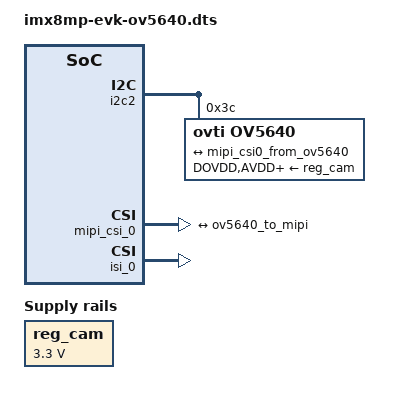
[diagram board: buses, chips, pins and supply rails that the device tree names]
// SPDX-License-Identifier: (GPL-2.0 OR MIT)
/*
 * imx8mp-evk-ov5640.dts — Device tree overlay for OV5640 camera on i.MX8MP EVK
 *
 * This file shows how hardware is described to the Linux kernel.
 * The device tree is NOT code — it's a data structure that tells the kernel:
 *   "At this address, there is this hardware, configured like this."
 *
 * The kernel NEVER probes hardware blindly. It reads the device tree
 * to know what exists, then loads the matching driver.
 *
 * Key concepts:
 *   - Each node = one hardware block (I2C bus, camera, clock, etc.)
 *   - `compatible` string = matches a kernel driver
 *   - `reg` = hardware address (I2C addr, MMIO base, etc.)
 *   - `status = "okay"` = enabled; "disabled" = kernel ignores it
 *   - phandle references (&label) = links between nodes
 *
 * Data flow described by this device tree:
 *
 *   OV5640 sensor (I2C1, addr 0x3c)
 *       │
 *       │  MIPI CSI-2 (2 data lanes, 24MHz MCLK)
 *       ▼
 *   MIPI CSI-2 receiver (mipi_csi0 @ 0x32e40000)
 *       │
 *       │  internal bus
 *       ▼
 *   ISI channel 0 (isi_0 @ 0x32e00000)
 *       │
 *       ▼
 *   /dev/video3 (V4L2 capture node)
 *
 * On the EVK, NXP's base device tree (imx8mp-evk.dts) already includes
 * OV5640 support. This overlay is for educational reference.
 *
 * Compile:
 *   dtc -@ -I dts -O dtb -o imx8mp-evk-ov5640.dtbo imx8mp-evk-ov5640.dts
 *
 * Apply at runtime (if supported):
 *   mkdir -p /sys/kernel/config/device-tree/overlays/cam
 *   cat imx8mp-evk-ov5640.dtbo > /sys/kernel/config/device-tree/overlays/cam/dtbo
 */

/dts-v1/;
/plugin/;

&{/} {
	/*
	 * Clock provider for OV5640's MCLK (master clock).
	 *
	 * OV5640 needs an external clock input (XVCLK pin) to run its
	 * internal PLL. The EVK provides 24 MHz from the SoC's CCM
	 * (Clock Controller Module). We declare a fixed-clock node
	 * so the camera driver can request it via the clocks property.
	 */
	cam_clk: cam-clk {
		compatible = "fixed-clock";
		#clock-cells = <0>;
		clock-frequency = <24000000>;  /* 24 MHz — OV5640 XVCLK */
		clock-output-names = "cam_mclk";
	};

	/*
	 * GPIO-controlled regulator for camera power.
	 *
	 * The OV5640 module on the EVK is powered by a 3.3V rail
	 * controlled by a GPIO. The regulator framework manages
	 * power sequencing — the camera driver just says
	 * "I need DOVDD" and the kernel handles the rest.
	 */
	reg_cam: regulator-cam {
		compatible = "regulator-fixed";
		regulator-name = "cam-3v3";
		regulator-min-microvolt = <3300000>;
		regulator-max-microvolt = <3300000>;
		/* gpio = <&gpio2 20 GPIO_ACTIVE_HIGH>; */
		/* enable-active-high; */
	};
};

/*
 * I2C bus 1 — where the OV5640 sensor sits.
 *
 * I2C is a 2-wire bus (SDA + SCL). The i.MX8MP has 6 I2C controllers.
 * I2C1 on the EVK connects to:
 *   - PMIC (NXP PCA9450, addr 0x25)
 *   - OV5640 camera (addr 0x3c) via MINISASTOCSI adapter
 *
 * The `reg = <0x3c>` tells the I2C core the slave address.
 * When the kernel scans I2C1 and sees a device at 0x3c with
 * compatible = "ovti,ov5640", it loads the ov5640.ko driver.
 */
&i2c2 {
	#address-cells = <1>;
	#size-cells = <0>;
	status = "okay";

	ov5640: camera@3c {
		compatible = "ovti,ov5640";  /* matches drivers/media/i2c/ov5640.c */
		reg = <0x3c>;                /* I2C slave address */
		status = "okay";

		/* Clock: 24 MHz from the fixed-clock node above */
		clocks = <&cam_clk>;
		clock-names = "xclk";

		/* Power supplies (regulator framework handles sequencing) */
		DOVDD-supply = <&reg_cam>;   /* digital I/O: 1.8V or 3.3V */
		AVDD-supply  = <&reg_cam>;   /* analog: 2.8V */
		DVDD-supply  = <&reg_cam>;   /* digital core: 1.5V */

		/* Reset and power-down GPIOs (directly from i.MX8MP pins) */
		/* reset-gpios    = <&gpio1 6  GPIO_ACTIVE_LOW>;  */
		/* powerdown-gpios = <&gpio1 7 GPIO_ACTIVE_HIGH>; */

		/*
		 * MIPI CSI-2 output port.
		 *
		 * This "port" node describes the physical connection:
		 * OV5640's MIPI TX → i.MX8MP's MIPI CSI-2 RX.
		 *
		 * OF graph bindings (Documentation/devicetree/bindings/graph.txt)
		 * link source endpoints to sink endpoints, building the
		 * media pipeline that `media-ctl -p` displays.
		 *
		 * Key parameters:
		 *   data-lanes = <1 2>  → use MIPI lanes 1 and 2 (2-lane mode)
		 *   clock-lanes = <0>   → MIPI clock on lane 0
		 *   bus-type = <4>      → MIPI CSI-2 (defined in dt-bindings/media)
		 *
		 * The remote-endpoint phandle links to mipi_csi0's input port,
		 * telling the kernel: "this camera connects to that receiver."
		 */
		port {
			ov5640_to_mipi: endpoint {
				remote-endpoint = <&mipi_csi0_from_ov5640>;
				clock-lanes = <0>;
				data-lanes = <1 2>;
			};
		};
	};
};

/*
 * MIPI CSI-2 receiver — the SoC's camera input interface.
 *
 * Hardware: Synopsys DesignWare MIPI CSI-2 Host controller
 * Address:  0x32e40000 (in the i.MX8MP memory map)
 *
 * This block deserializes the MIPI D-PHY signal from the camera
 * into parallel pixel data, then passes it to the ISI
 * (Image Sensing Interface) for format conversion and DMA.
 */
&mipi_csi_0 {
	status = "okay";

	port@0 {
		reg = <0>;
		mipi_csi0_from_ov5640: endpoint {
			remote-endpoint = <&ov5640_to_mipi>;
			data-lanes = <2>;           /* 2-lane MIPI */
		};
	};
};

/*
 * ISI (Image Sensing Interface) — NXP's camera DMA engine.
 *
 * The ISI sits between the MIPI receiver and system memory.
 * It can perform:
 *   - Color space conversion (YUV → RGB, etc.)
 *   - Scaling / cropping
 *   - DMA to system memory (this is what creates /dev/video3)
 *
 * The ISI is why the camera shows up as /dev/video3 (ISI capture)
 * rather than /dev/video0 (which is the VPU encoder).
 */
&isi_0 {
	status = "okay";
};
